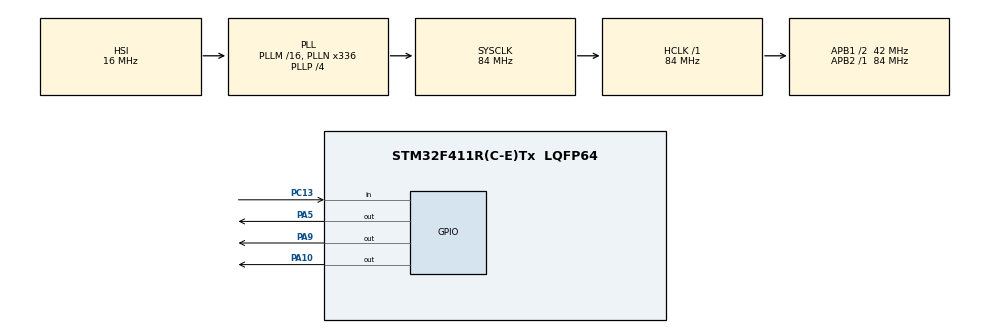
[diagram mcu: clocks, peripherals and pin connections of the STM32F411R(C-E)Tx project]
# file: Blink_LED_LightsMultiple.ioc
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Mcu.Family=STM32F4
Mcu.Name=STM32F411R(C-E)Tx
Mcu.Package=LQFP64
NVIC.PriorityGroup=NVIC_PRIORITYGROUP_0
PA10.Signal=GPIO_Output
PA5.Signal=GPIO_Output
PA9.Signal=GPIO_Output
PC13-ANTI_TAMP.Signal=GPIO_Input
ProjectManager.HeapSize=0x200
ProjectManager.StackSize=0x400
ProjectManager.TargetToolchain=STM32CubeIDE
RCC.48MHZClocksFreq_Value=84000000
RCC.AHBFreq_Value=84000000
RCC.APB1CLKDivider=RCC_HCLK_DIV2
RCC.APB1Freq_Value=42000000
RCC.APB1TimFreq_Value=84000000
RCC.APB2Freq_Value=84000000
RCC.APB2TimFreq_Value=84000000
RCC.CortexFreq_Value=84000000
RCC.FLatency-AdvancedSettings=FLASH_LATENCY_2
RCC.HCLKFreq_Value=84000000
RCC.HSE_VALUE=8000000
RCC.HSI_VALUE=16000000
RCC.PLLN=336
RCC.PLLP=RCC_PLLP_DIV4
RCC.SYSCLKFreq_VALUE=84000000
RCC.SYSCLKSource=RCC_SYSCLKSOURCE_PLLCLK
RCC.VCOOutputFreq_Value=336000000
board=NUCLEO-F411RE

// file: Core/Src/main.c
/* USER CODE BEGIN Header */
/**
  ******************************************************************************
  * @file           : main.c
  * @brief          : Main program body
  ******************************************************************************
  * @attention
  *
  * Copyright (c) 2025 STMicroelectronics.
  * All rights reserved.
  *
  * This software is licensed under terms that can be found in the LICENSE file
  * in the root directory of this software component.
  * If no LICENSE file comes with this software, it is provided AS-IS.
  *
  ******************************************************************************
  */
/* USER CODE END Header */
#include "main.h"

void SystemClock_Config(void);
static void MX_GPIO_Init(void);

int main(void)
{

  /* MCU Configuration--------------------------------------------------------*/

  /* Reset of all peripherals, Initializes the Flash interface and the Systick. */
  HAL_Init();

  /* Configure the system clock */
  SystemClock_Config();

  /* Initialize all configured peripherals */
  MX_GPIO_Init();

  /* Infinite loop */
  while (1)
  {

    /* USER CODE BEGIN 3 */
	  if( HAL_GPIO_ReadPin(GPIOC, GPIO_PIN_13 )==GPIO_PIN_RESET)
	  	  	 {
	  	  		 HAL_GPIO_WritePin(GPIOA, GPIO_PIN_5, 1);
	  	  		 HAL_Delay(50);
	  	  		 HAL_GPIO_WritePin(GPIOA, GPIO_PIN_9, 1);
	  	  		 HAL_Delay(50);
	  	  		 HAL_GPIO_WritePin(GPIOA, GPIO_PIN_9, 0);
	  	  		 HAL_Delay(50);
	  	  		 HAL_GPIO_WritePin(GPIOA, GPIO_PIN_10, 1);
	  	  		 HAL_Delay(50);
	  	  		 HAL_GPIO_WritePin(GPIOA, GPIO_PIN_10, 0);
	  	  		 HAL_Delay(50);
	  	  	 }

	  	  	 else{
	  	  		 HAL_GPIO_WritePin(GPIOA, GPIO_PIN_5, 0);
	  	  		 HAL_Delay(500);
	  	  		HAL_GPIO_WritePin(GPIOA, GPIO_PIN_9, 0);
	  	  	 }
  }
  /* USER CODE END 3 */
}

void SystemClock_Config(void)
{
  RCC_OscInitTypeDef RCC_OscInitStruct = {0};
  RCC_ClkInitTypeDef RCC_ClkInitStruct = {0};

  /** Configure the main internal regulator output voltage
  */
  __HAL_RCC_PWR_CLK_ENABLE();
  __HAL_PWR_VOLTAGESCALING_CONFIG(PWR_REGULATOR_VOLTAGE_SCALE1);

  /** Initializes the RCC Oscillators according to the specified parameters
  * in the RCC_OscInitTypeDef structure.
  */
  RCC_OscInitStruct.OscillatorType = RCC_OSCILLATORTYPE_HSI;
  RCC_OscInitStruct.HSIState = RCC_HSI_ON;
  RCC_OscInitStruct.HSICalibrationValue = RCC_HSICALIBRATION_DEFAULT;
  RCC_OscInitStruct.PLL.PLLState = RCC_PLL_ON;
  RCC_OscInitStruct.PLL.PLLSource = RCC_PLLSOURCE_HSI;
  RCC_OscInitStruct.PLL.PLLM = 16;
  RCC_OscInitStruct.PLL.PLLN = 336;
  RCC_OscInitStruct.PLL.PLLP = RCC_PLLP_DIV4;
  RCC_OscInitStruct.PLL.PLLQ = 4;
  if (HAL_RCC_OscConfig(&RCC_OscInitStruct) != HAL_OK)
  {
    Error_Handler();
  }

  /** Initializes the CPU, AHB and APB buses clocks
  */
  RCC_ClkInitStruct.ClockType = RCC_CLOCKTYPE_HCLK|RCC_CLOCKTYPE_SYSCLK
                              |RCC_CLOCKTYPE_PCLK1|RCC_CLOCKTYPE_PCLK2;
  RCC_ClkInitStruct.SYSCLKSource = RCC_SYSCLKSOURCE_PLLCLK;
  RCC_ClkInitStruct.AHBCLKDivider = RCC_SYSCLK_DIV1;
  RCC_ClkInitStruct.APB1CLKDivider = RCC_HCLK_DIV2;
  RCC_ClkInitStruct.APB2CLKDivider = RCC_HCLK_DIV1;

  if (HAL_RCC_ClockConfig(&RCC_ClkInitStruct, FLASH_LATENCY_2) != HAL_OK)
  {
    Error_Handler();
  }
}

static void MX_GPIO_Init(void)
{
  GPIO_InitTypeDef GPIO_InitStruct = {0};

  /* GPIO Ports Clock Enable */
  __HAL_RCC_GPIOC_CLK_ENABLE();
  __HAL_RCC_GPIOA_CLK_ENABLE();

  /*Configure GPIO pin Output Level */
  HAL_GPIO_WritePin(GPIOA, GPIO_PIN_5|GPIO_PIN_9|GPIO_PIN_10, GPIO_PIN_RESET);

  /*Configure GPIO pin : PC13 */
  GPIO_InitStruct.Pin = GPIO_PIN_13;
  GPIO_InitStruct.Mode = GPIO_MODE_INPUT;
  GPIO_InitStruct.Pull = GPIO_NOPULL;
  HAL_GPIO_Init(GPIOC, &GPIO_InitStruct);

  /*Configure GPIO pins : PA5 PA9 PA10 */
  GPIO_InitStruct.Pin = GPIO_PIN_5|GPIO_PIN_9|GPIO_PIN_10;
  GPIO_InitStruct.Mode = GPIO_MODE_OUTPUT_PP;
  GPIO_InitStruct.Pull = GPIO_NOPULL;
  GPIO_InitStruct.Speed = GPIO_SPEED_FREQ_LOW;
  HAL_GPIO_Init(GPIOA, &GPIO_InitStruct);

}

void Error_Handler(void)
{
  __disable_irq();
  while (1)
  {
  }
}
